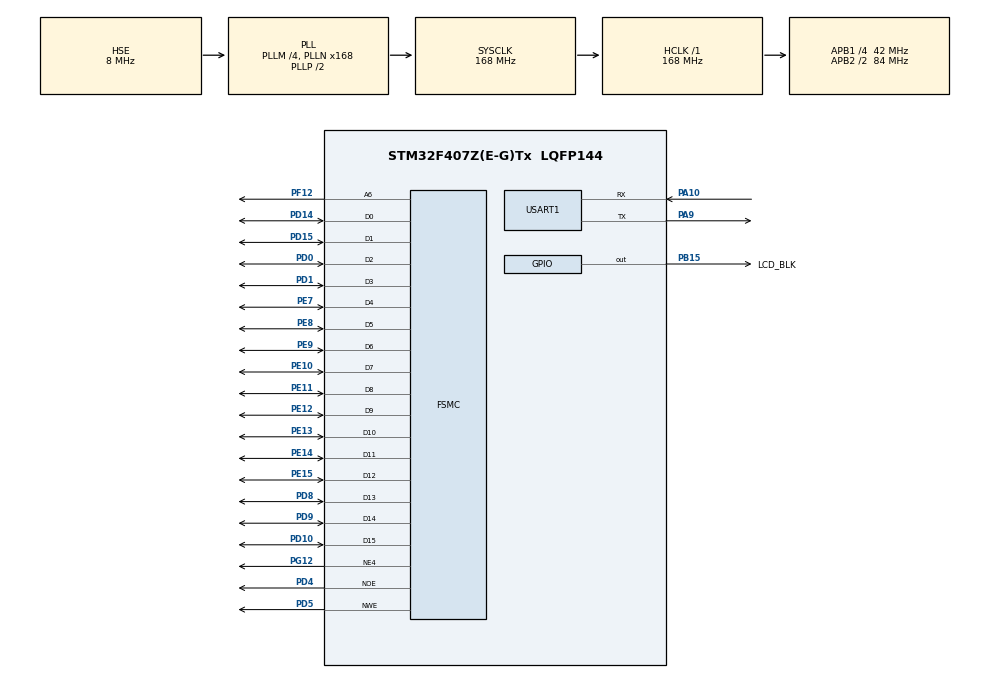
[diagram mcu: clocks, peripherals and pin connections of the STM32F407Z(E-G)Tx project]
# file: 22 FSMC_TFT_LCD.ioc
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FSMC.AddressSetupTime4=2
FSMC.BusTurnAroundDuration4=0
FSMC.DataSetupTime4=5
FSMC.ExtendedAddressSetupTime4=0
FSMC.ExtendedBusTurnAroundDuration4=0
FSMC.ExtendedDataSetupTime4=5
FSMC.ExtendedMode4=FSMC_EXTENDED_MODE_ENABLE
Mcu.Family=STM32F4
Mcu.Name=STM32F407Z(E-G)Tx
Mcu.Package=LQFP144
NVIC.PriorityGroup=NVIC_PRIORITYGROUP_4
PA10.Mode=Asynchronous
PA10.Signal=USART1_RX
PA13.Mode=Serial_Wire
PA13.Signal=SYS_JTMS-SWDIO
PA14.Mode=Serial_Wire
PA14.Signal=SYS_JTCK-SWCLK
PA9.Mode=Asynchronous
PA9.Signal=USART1_TX
PB15.GPIO_Label=LCD_BLK
PB15.PinState=GPIO_PIN_SET
PB15.Signal=GPIO_Output
PC14-OSC32_IN.Mode=LSE-External-Oscillator
PC14-OSC32_IN.Signal=RCC_OSC32_IN
PC15-OSC32_OUT.Mode=LSE-External-Oscillator
PC15-OSC32_OUT.Signal=RCC_OSC32_OUT
PD0.Signal=FSMC_D2_DA2
PD1.Signal=FSMC_D3_DA3
PD10.Signal=FSMC_D15_DA15
PD14.Signal=FSMC_D0_DA0
PD15.Signal=FSMC_D1_DA1
PD4.Signal=FSMC_NOE
PD5.Signal=FSMC_NWE
PD8.Signal=FSMC_D13_DA13
PD9.Signal=FSMC_D14_DA14
PE10.Signal=FSMC_D7_DA7
PE11.Signal=FSMC_D8_DA8
PE12.Signal=FSMC_D9_DA9
PE13.Signal=FSMC_D10_DA10
PE14.Signal=FSMC_D11_DA11
PE15.Signal=FSMC_D12_DA12
PE7.Signal=FSMC_D4_DA4
PE8.Signal=FSMC_D5_DA5
PE9.Signal=FSMC_D6_DA6
PF12.Signal=FSMC_A6
PG12.Mode=NorPsramChipSelect4_4
PG12.Signal=FSMC_NE4
PH0-OSC_IN.Mode=HSE-External-Oscillator
PH0-OSC_IN.Signal=RCC_OSC_IN
PH1-OSC_OUT.Mode=HSE-External-Oscillator
PH1-OSC_OUT.Signal=RCC_OSC_OUT
ProjectManager.HeapSize=0x200
ProjectManager.StackSize=0x400
ProjectManager.TargetToolchain=MDK-ARM V5.32
RCC.48MHZClocksFreq_Value=84000000
RCC.AHBFreq_Value=168000000
RCC.APB1CLKDivider=RCC_HCLK_DIV4
RCC.APB1Freq_Value=42000000
RCC.APB1TimFreq_Value=84000000
RCC.APB2CLKDivider=RCC_HCLK_DIV2
RCC.APB2Freq_Value=84000000
RCC.APB2TimFreq_Value=168000000
RCC.CortexFreq_Value=168000000
RCC.HCLKFreq_Value=168000000
RCC.HSE_VALUE=8000000
RCC.HSI_VALUE=16000000
RCC.PLLM=4
RCC.PLLN=168
RCC.PLLSourceVirtual=RCC_PLLSOURCE_HSE
RCC.SYSCLKFreq_VALUE=168000000
RCC.SYSCLKSource=RCC_SYSCLKSOURCE_PLLCLK
RCC.VCOOutputFreq_Value=336000000
SH.FSMC_A6.0=FSMC_A6,A6_4
SH.FSMC_D0_DA0.0=FSMC_D0,16b-d4
SH.FSMC_D10_DA10.0=FSMC_D10,16b-d4
SH.FSMC_D11_DA11.0=FSMC_D11,16b-d4
SH.FSMC_D12_DA12.0=FSMC_D12,16b-d4
SH.FSMC_D13_DA13.0=FSMC_D13,16b-d4
SH.FSMC_D14_DA14.0=FSMC_D14,16b-d4
SH.FSMC_D15_DA15.0=FSMC_D15,16b-d4
SH.FSMC_D1_DA1.0=FSMC_D1,16b-d4
SH.FSMC_D2_DA2.0=FSMC_D2,16b-d4
SH.FSMC_D3_DA3.0=FSMC_D3,16b-d4
SH.FSMC_D4_DA4.0=FSMC_D4,16b-d4
SH.FSMC_D5_DA5.0=FSMC_D5,16b-d4
SH.FSMC_D6_DA6.0=FSMC_D6,16b-d4
SH.FSMC_D7_DA7.0=FSMC_D7,16b-d4
SH.FSMC_D8_DA8.0=FSMC_D8,16b-d4
SH.FSMC_D9_DA9.0=FSMC_D9,16b-d4
SH.FSMC_NOE.0=FSMC_NOE,Lcd4
SH.FSMC_NWE.0=FSMC_NWE,Lcd4
USART1.VirtualMode=VM_ASYNC
board=custom

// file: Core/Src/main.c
/* USER CODE BEGIN Header */
/**
  ******************************************************************************
  * @file           : main.c
  * @brief          : Main program body
  ******************************************************************************
  * @attention
  *
  * Copyright (c) 2024 STMicroelectronics.
  * All rights reserved.
  *
  * This software is licensed under terms that can be found in the LICENSE file
  * in the root directory of this software component.
  * If no LICENSE file comes with this software, it is provided AS-IS.
  *
  ******************************************************************************
  */
/* USER CODE END Header */
#include "main.h"
#include "usart.h"
#include "gpio.h"
#include "fsmc.h"

/* USER CODE BEGIN Includes */
#include "tftlcd.h"
#include "stdio.h"
/* USER CODE END Includes */

/* USER CODE BEGIN PTD */
uint8_t lcd_id[12];
void LCD_TEST(void);
void testlines(void);
void testdrawrects(void);
void testfillcircles(uint8_t radius);
void tftPrintTest(void);
/* USER CODE END PTD */

/* USER CODE BEGIN PM */
#ifdef __GNUC__
#define PUTCHAR_PROTOTYPE int __io_putchar(int ch)
#else
#define PUTCHAR_PROTOTYPE int fputc(int ch, FILE *f)
#endif
PUTCHAR_PROTOTYPE
{
    HAL_UART_Transmit(&huart1, (uint8_t *)&ch, 1, HAL_MAX_DELAY);
    return ch;
}
/* USER CODE END PM */

void SystemClock_Config(void);

int main(void)
{

  /* MCU Configuration--------------------------------------------------------*/

  /* Reset of all peripherals, Initializes the Flash interface and the Systick. */
  HAL_Init();

  /* Configure the system clock */
  SystemClock_Config();

  /* Initialize all configured peripherals */
  MX_GPIO_Init();
  MX_FSMC_Init();
  MX_USART1_UART_Init();
  /* USER CODE BEGIN 2 */
	printf("Reset\r\n");
	HAL_Delay(50);
	LCD_Init();

  /* USER CODE END 2 */

  /* Infinite loop */
  while (1)
  {

    /* USER CODE BEGIN 3 */
		LCD_TEST();
		HAL_Delay(4000);
  }
  /* USER CODE END 3 */
}

void SystemClock_Config(void)
{
  RCC_OscInitTypeDef RCC_OscInitStruct = {0};
  RCC_ClkInitTypeDef RCC_ClkInitStruct = {0};

  /** Configure the main internal regulator output voltage
  */
  __HAL_RCC_PWR_CLK_ENABLE();
  __HAL_PWR_VOLTAGESCALING_CONFIG(PWR_REGULATOR_VOLTAGE_SCALE1);

  /** Initializes the RCC Oscillators according to the specified parameters
  * in the RCC_OscInitTypeDef structure.
  */
  RCC_OscInitStruct.OscillatorType = RCC_OSCILLATORTYPE_HSE;
  RCC_OscInitStruct.HSEState = RCC_HSE_ON;
  RCC_OscInitStruct.PLL.PLLState = RCC_PLL_ON;
  RCC_OscInitStruct.PLL.PLLSource = RCC_PLLSOURCE_HSE;
  RCC_OscInitStruct.PLL.PLLM = 4;
  RCC_OscInitStruct.PLL.PLLN = 168;
  RCC_OscInitStruct.PLL.PLLP = RCC_PLLP_DIV2;
  RCC_OscInitStruct.PLL.PLLQ = 4;
  if (HAL_RCC_OscConfig(&RCC_OscInitStruct) != HAL_OK)
  {
    Error_Handler();
  }

  /** Initializes the CPU, AHB and APB buses clocks
  */
  RCC_ClkInitStruct.ClockType = RCC_CLOCKTYPE_HCLK|RCC_CLOCKTYPE_SYSCLK
                              |RCC_CLOCKTYPE_PCLK1|RCC_CLOCKTYPE_PCLK2;
  RCC_ClkInitStruct.SYSCLKSource = RCC_SYSCLKSOURCE_PLLCLK;
  RCC_ClkInitStruct.AHBCLKDivider = RCC_SYSCLK_DIV1;
  RCC_ClkInitStruct.APB1CLKDivider = RCC_HCLK_DIV4;
  RCC_ClkInitStruct.APB2CLKDivider = RCC_HCLK_DIV2;

  if (HAL_RCC_ClockConfig(&RCC_ClkInitStruct, FLASH_LATENCY_5) != HAL_OK)
  {
    Error_Handler();
  }
}

/* USER CODE BEGIN 4 */
/*LCD测试函数*/
void LCD_TEST(void)
{
    /*画线测试*/
    testlines();
    HAL_Delay(1000);
    /*画正方形测试*/
    testdrawrects();
    HAL_Delay(1000);
    /*画圆测试*/
    testfillcircles(15);
    HAL_Delay(1000);
    /*字体测试*/
    tftPrintTest();

}
/*画线测试*/
void testlines(void)
{
    LCD_Clear(WHITE);
    POINT_COLOR=BLACK;
    for (int16_t x=0; x < SSD_VER_RESOLUTION; x+=6)
    {
        LCD_DrawLine(0, 0, x, SSD_HOR_RESOLUTION-1);
        HAL_Delay(3);

    }
    for (int16_t y=0; y < SSD_HOR_RESOLUTION; y+=6)
    {
        LCD_DrawLine(0, 0, SSD_VER_RESOLUTION-1, y);
        HAL_Delay(3);

    }
    LCD_Clear(WHITE);
    POINT_COLOR=BLUE;
    for (int16_t x=0; x < SSD_VER_RESOLUTION; x+=6)
    {
        LCD_DrawLine(SSD_VER_RESOLUTION-1, 0, x, SSD_HOR_RESOLUTION-1);
        HAL_Delay(3);

    }
    for (int16_t y=0; y < SSD_HOR_RESOLUTION; y+=6)
    {
        LCD_DrawLine(SSD_VER_RESOLUTION-1, 0, 0, y);
        HAL_Delay(3);

    }
    LCD_Clear(WHITE);
    POINT_COLOR=RED;
    for (int16_t y=0; y < SSD_HOR_RESOLUTION; y+=6)
    {
        LCD_DrawLine(0, SSD_HOR_RESOLUTION-1, SSD_VER_RESOLUTION-1, y);
        HAL_Delay(3);

    }
    for (int16_t x=0; x < SSD_VER_RESOLUTION; x+=6)
    {
        LCD_DrawLine(0, SSD_HOR_RESOLUTION-1, x, 0);
        HAL_Delay(3);

    }
    LCD_Clear(WHITE);
    POINT_COLOR=MAGENTA;
    for (int16_t x=0; x < SSD_VER_RESOLUTION; x+=6)
    {
        LCD_DrawLine(SSD_VER_RESOLUTION-1, SSD_HOR_RESOLUTION-1, x, 0);
        HAL_Delay(3);

    }
    for (int16_t y=0; y < SSD_HOR_RESOLUTION; y+=6)
    {
        LCD_DrawLine(SSD_VER_RESOLUTION-1, SSD_HOR_RESOLUTION-1, 0, y);
        HAL_Delay(3);

    }

}
/*画正方形测试*/
void testdrawrects(void)
{
    LCD_Clear(WHITE);
    POINT_COLOR=BLACK;
    for (int16_t x=0; x < SSD_VER_RESOLUTION; x+=6)
    {
        LCD_DrawRectangle(SSD_VER_RESOLUTION/2 -x/2, SSD_HOR_RESOLUTION/2 -x/2 , x, x);

    }

}
/*画圆测试*/
void testfillcircles(uint8_t radius)
{
    LCD_Clear(WHITE);
    POINT_COLOR=BLUE;
    for(int16_t x=radius; x < SSD_VER_RESOLUTION; x+=radius*2)
    {
        for(int16_t y=radius; y < SSD_HOR_RESOLUTION; y+=radius*2)
        {
            LCD_Draw_Circle(x, y, radius);

        }

    }
    HAL_Delay(1500);
    LCD_Clear(WHITE);
    POINT_COLOR=MAGENTA;
    radius = radius / 2;
    for(int16_t x=radius; x < SSD_VER_RESOLUTION; x+=radius*2)
    {
        for(int16_t y=radius; y < SSD_HOR_RESOLUTION; y+=radius*2)
        {
            LCD_Draw_Circle(x, y, radius);

        }

    }

}
/*字体测试*/
void tftPrintTest(void)
{
    LCD_Clear(WHITE);
    LCD_SetCursor(0, 30);
    POINT_COLOR=RED;
    LCD_ShowString(0,30,200,16,16,(uint8_t *)"Hello World!");
    POINT_COLOR=YELLOW;
    LCD_ShowString(0,60,200,16,24,(uint8_t *)"Hello World!");
    POINT_COLOR=GREEN;
    LCD_ShowString(0,90,200,16,32,(uint8_t *)"Hello World!");
    POINT_COLOR=BLUE;
    LCD_ShowxNum(0,120,1234,4,24,1);
    HAL_Delay(1500);
    POINT_COLOR=YELLOW;
    LCD_ShowString(0,180,200,16,24,(uint8_t *)"Hello World!");
    POINT_COLOR=GREEN;
    LCD_ShowString(0,210,200,16,32,(uint8_t *)" Want pi?");
    LCD_ShowString(0,240,200,16,32,(uint8_t *)" Print HEX!");
    POINT_COLOR=BLUE;
    LCD_ShowString(0,270,200,16,16,(uint8_t *)"Sketch has been");
    LCD_ShowString(0,300,200,16,24,(uint8_t *)"running for: ");
    POINT_COLOR=MAGENTA;
    LCD_ShowString(0,330,200,16,24,(uint8_t *)" seconds.");

}

/* USER CODE END 4 */

void Error_Handler(void)
{
  __disable_irq();
  while (1)
  {
  }
}
